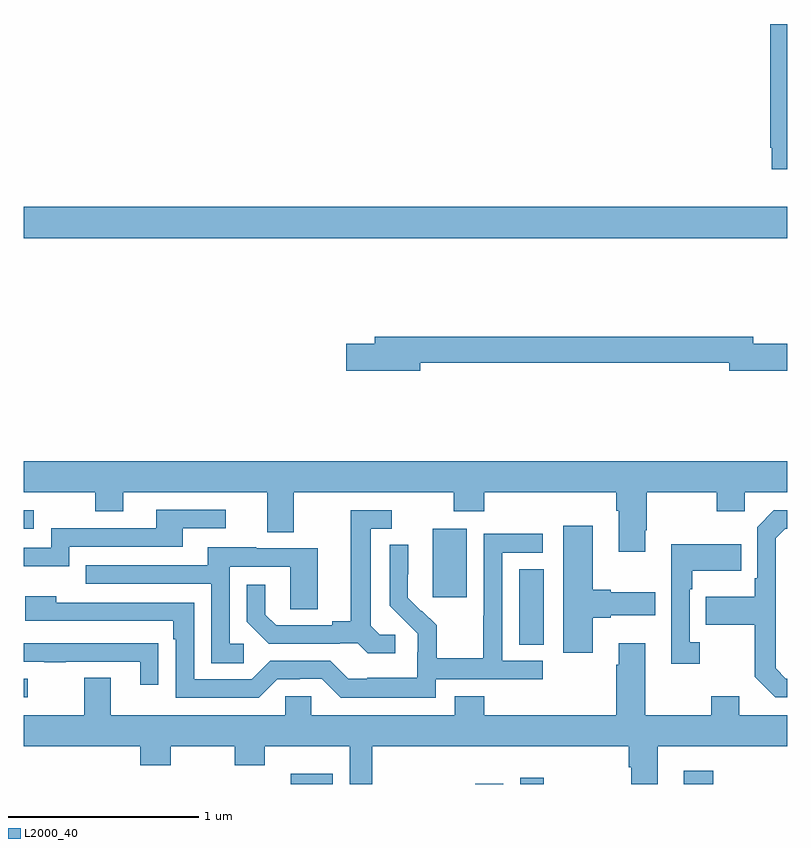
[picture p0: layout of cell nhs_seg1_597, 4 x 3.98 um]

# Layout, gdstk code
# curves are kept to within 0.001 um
import gdstk
lib = gdstk.Library(unit=1e-6, precision=1e-09)
def R(c, l, rs):  # rectangles x0, y0, x1, y1
    for r in rs: c.add(gdstk.rectangle(r[:2], r[2:], *l))
def P(c, l, *ps):  # polygons
    for p in ps: c.add(gdstk.Polygon(p, *l))
L2000_40 = (2000, 40)

nhs_seg1_597 = lib.new_cell('nhs_seg1_597')
R(nhs_seg1_597, L2000_40, [(144.399,554.199,144.618,554.254), (145.365,554.199,145.513,554.2), (145.601,554.199,145.726,554.233), (146.459,554.199,146.612,554.269), (143,554.655,143.02,554.751), (145.595,554.929,145.726,555.326), (145.142,555.177,145.321,555.538), (143,555.537,143.05,555.633), (143,557.06,147,557.224)])
P(nhs_seg1_597, L2000_40, [(147,558.183),(146.911,558.183),(146.911,557.533),(146.919,557.533),(146.919,557.421),(147,557.421)],
  [(145.078,556.408),(146.696,556.408),(146.696,556.366),(147,556.366),(147,556.508),(146.824,556.508),(146.824,556.544),(144.839,556.544),(144.839,556.508),(144.69,556.508),(144.69,556.366),(145.078,556.366)],
  [(146.257,555.529),(146.265,555.529),(146.265,555.728),(146.632,555.728),(146.632,555.629),(146.778,555.629),(146.778,555.728),(147,555.728),(147,555.892),(143,555.892),(143,555.728),(143.374,555.728),(143.374,555.629),(143.521,555.629),(143.521,555.728),(144.275,555.728),(144.275,555.52),(144.415,555.52),(144.415,555.728),(145.252,555.728),(145.252,555.629),(145.412,555.629),(145.412,555.728),(146.105,555.728),(146.105,555.632),(146.117,555.632),(146.117,555.417),(146.257,555.417)],
  [(143.238,555.444),(143.833,555.444),(143.833,555.54),(144.058,555.54),(144.058,555.636),(143.693,555.636),(143.693,555.54),(143.142,555.54),(143.142,555.438),(143,555.438),(143,555.341),(143.238,555.341)],
  [(144.946,554.982),(144.864,554.982),(144.817,555.029),(144.817,555.537),(144.928,555.537),(144.928,555.633),(144.713,555.633),(144.713,555.053),(144.617,555.053),(144.617,555.03),(144.322,555.03),(144.265,555.087),(144.265,555.244),(144.168,555.244),(144.168,555.05),(144.284,554.934),(144.656,554.934),(144.656,554.937),(144.75,554.937),(144.802,554.885),(144.946,554.885)],
  [(147,554.751),(146.994,554.751),(146.94,554.805),(146.94,555.486),(146.991,555.537),(147,555.537),(147,555.633),(146.931,555.633),(146.844,555.546),(146.844,555.277),(146.832,555.277),(146.832,555.181),(146.575,555.181),(146.575,555.034),(146.832,555.034),(146.832,554.761),(146.937,554.655),(147,554.655)],
  [(145.981,555.071),(146.077,555.071),(146.077,555.083),(146.308,555.083),(146.308,555.205),(146.077,555.205),(146.077,555.218),(145.981,555.218),(145.981,555.553),(145.826,555.553),(145.826,554.886),(145.981,554.886)],
  [(145.158,554.748),(145.72,554.748),(145.72,554.844),(145.506,554.844),(145.506,555.411),(145.72,555.411),(145.72,555.51),(145.41,555.51),(145.41,555.08),(145.408,555.08),(145.408,554.857),(145.163,554.857),(145.163,555.031),(145.086,555.108),(145.083,555.105),(145.013,555.176),(145.014,555.452),(144.918,555.452),(144.918,555.134),(145.064,554.986),(145.064,554.889),(145.062,554.889),(145.062,554.755),(144.799,554.755),(144.799,554.751),(144.699,554.751),(144.606,554.844),(144.291,554.844),(144.195,554.748),(143.892,554.748),(143.892,555.15),(143.168,555.15),(143.168,555.184),(143.007,555.184),(143.007,555.054),(143.783,555.054),(143.783,554.957),(143.796,554.957),(143.796,554.652),(144.231,554.652),(144.327,554.748),(144.446,554.748),(144.446,554.751),(144.561,554.751),(144.661,554.651),(145.158,554.651)],
  [(146.542,554.942),(146.49,554.942),(146.49,555.221),(146.503,555.221),(146.503,555.317),(146.759,555.317),(146.759,555.457),(146.394,555.457),(146.394,554.829),(146.542,554.829)],
  [(144.151,554.934),(144.078,554.934),(144.078,555.339),(144.396,555.339),(144.396,555.115),(144.541,555.115),(144.541,555.435),(144.217,555.435),(144.217,555.439),(143.963,555.439),(143.963,555.345),(143.323,555.345),(143.323,555.249),(143.982,555.249),(143.982,554.833),(144.151,554.833)],
  [(144.826,554.396),(146.171,554.396),(146.171,554.286),(146.184,554.286),(146.184,554.199),(146.323,554.199),(146.323,554.396),(147,554.396),(147,554.56),(146.749,554.56),(146.749,554.659),(146.602,554.659),(146.602,554.56),(146.257,554.56),(146.257,554.938),(146.117,554.938),(146.117,554.825),(146.105,554.825),(146.105,554.56),(145.412,554.56),(145.412,554.659),(145.259,554.659),(145.259,554.56),(144.507,554.56),(144.507,554.658),(144.369,554.658),(144.369,554.56),(143.455,554.56),(143.455,554.755),(143.315,554.755),(143.315,554.56),(143,554.56),(143,554.396),(143.609,554.396),(143.609,554.297),(143.769,554.297),(143.769,554.396),(144.106,554.396),(144.106,554.297),(144.261,554.297),(144.261,554.396),(144.707,554.396),(144.707,554.199),(144.826,554.199)],
  [(143.705,554.936),(143.603,554.936),(143.603,554.937),(143,554.937),(143,554.841),(143.107,554.841),(143.107,554.836),(143.219,554.836),(143.219,554.841),(143.609,554.841),(143.609,554.718),(143.705,554.718)])

lib.write_gds('nhs_seg1_597.gds')
